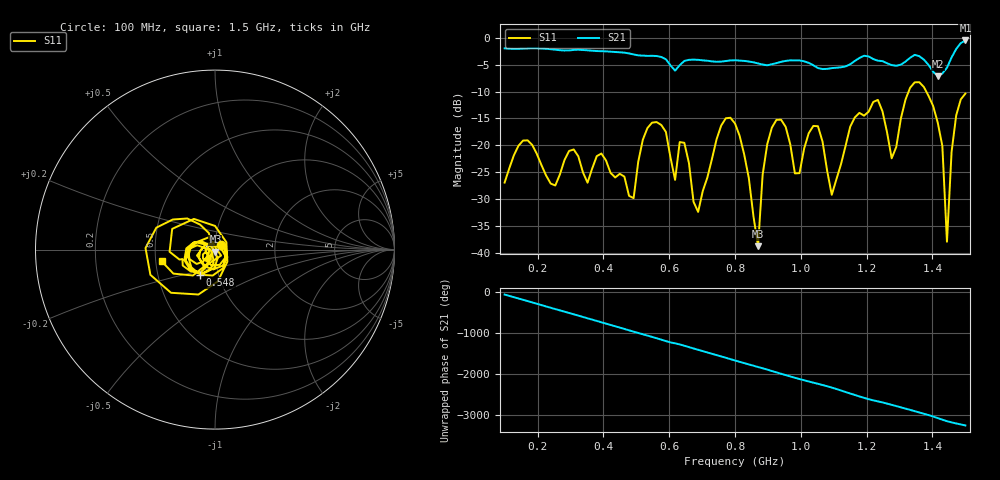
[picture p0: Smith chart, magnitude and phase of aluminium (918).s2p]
! NanoVNA-App
! Date: 2025-09-25 15:02:25
! Start: 100MHz Stop: 1,5GHz Points: 101
! S-Parameter data: F S11 S21 S12 S22
# Hz S RI R 50
!  Frequency  S11_Real  S11_Imag  S21_Real  S21_Imag  S12_Real  S12_Imag  S22_Real  S22_Imag
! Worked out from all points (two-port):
!   101 points, 100 MHz to 1.5 GHz, reference 50 ohm
!   highest |S21| = -0.45 dB at 1.5 GHz (marker M1); lowest = -7.1 dB at 1.416 GHz (marker M2)
!   |S21| within 3 dB of the highest: start of sweep to 569.3 MHz; 1.46 GHz to end of sweep (the widest 2 of 4)
!   lowest |S11| = -38.8 dB at 870 MHz (marker M3), VSWR 1.02, Z = 50.2 - j1.13 ohm
!   |S11| at or under -10 dB: start of sweep to 1.327 GHz; 1.381 GHz to end of sweep
!   S12 and S22 are empty: the file has one direction only
!   S11 on the Smith chart (normalised r, x): 100 MHz: 1.07, +0.06; 548 MHz: 0.82, -0.24; 1.5 GHz: 0.54, -0.08
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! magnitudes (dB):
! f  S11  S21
! 100 MHz  -27.0  -1.9
! 156 MHz  -19.1  -2.0
! 338 MHz  -25.1  -2.2
! 492 MHz  -29.9  -3.1
! 548 MHz  -15.8  -3.3
! 576 MHz  -16.2  -3.5
! 618 MHz  -26.5  -6.1
! 646 MHz  -19.5  -4.3
! 688 MHz  -32.4  -4.1
! 800 MHz  -15.9  -4.1
! 870 MHz  -38.8  -4.7
! 912 MHz  -16.7  -4.9
! 982 MHz  -25.2  -4.2
! 1.038 GHz  -16.4  -5.1
! 1.094 GHz  -29.2  -5.6
! 1.22 GHz  -11.9  -3.9
! 1.276 GHz  -22.4  -5.0
! 1.346 GHz  -8.3  -3.1
! 1.416 GHz  -15.8  -7.1
! 1.444 GHz  -38.0  -5.5
! 1.458 GHz  -21.3  -3.6
! 1.5 GHz  -10.4  -0.5
